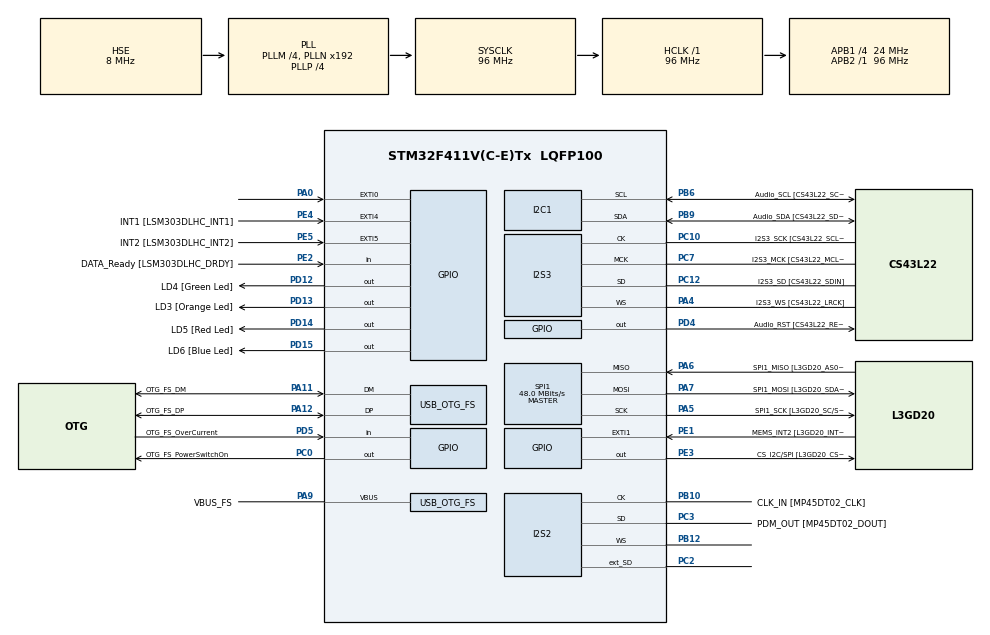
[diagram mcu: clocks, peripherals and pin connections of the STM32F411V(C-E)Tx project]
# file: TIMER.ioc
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I2S2.AudioFreq=I2S_AUDIOFREQ_96K
I2S2.ErrorAudioFreq=0.15 %
I2S2.FullDuplexMode=I2S_FULLDUPLEXMODE_ENABLE
I2S2.Instance=SPI$Index
I2S2.RealAudioFreq=96.153 KHz
I2S2.VirtualMode=I2S_MODE_MASTER
I2S3.AudioFreq=I2S_AUDIOFREQ_96K
I2S3.ErrorAudioFreq=-6.99 %
I2S3.FullDuplexMode=I2S_FULLDUPLEXMODE_DISABLE
I2S3.Instance=SPI$Index
I2S3.RealAudioFreq=89.285 KHz
I2S3.VirtualMode=I2S_MODE_MASTER
Mcu.Family=STM32F4
Mcu.Name=STM32F411V(C-E)Tx
Mcu.Package=LQFP100
NVIC.OTG_FS_IRQn=true\:0\:0\:false\:false\:true\:true\:true
NVIC.PriorityGroup=NVIC_PRIORITYGROUP_0
NVIC.TIM1_UP_TIM10_IRQn=true\:0\:0\:false\:false\:true\:true\:true
PA0-WKUP.GPIO_ModeDefaultEXTI=GPIO_MODE_EVT_RISING
PA0-WKUP.Signal=GPXTI0
PA10.GPIO_Label=OTG_FS_ID
PA10.Signal=USB_OTG_FS_ID
PA11.GPIO_Label=OTG_FS_DM
PA11.Mode=Host_Only
PA11.Signal=USB_OTG_FS_DM
PA12.GPIO_Label=OTG_FS_DP
PA12.Mode=Host_Only
PA12.Signal=USB_OTG_FS_DP
PA13.GPIO_Label=SWDIO
PA13.Mode=Serial_Wire
PA13.Signal=SYS_JTMS-SWDIO
PA14.GPIO_Label=SWCLK
PA14.Mode=Serial_Wire
PA14.Signal=SYS_JTCK-SWCLK
PA4.GPIO_Label=I2S3_WS [CS43L22_LRCK]
PA4.GPIO_Mode=GPIO_MODE_AF_PP
PA4.GPIO_PuPd=GPIO_NOPULL
PA4.GPIO_Speed=GPIO_SPEED_FREQ_LOW
PA4.Mode=Half_Duplex_Master
PA4.Signal=I2S3_WS
PA5.GPIO_Label=SPI1_SCK [L3GD20_SC/SPC]
PA5.Mode=Full_Duplex_Master
PA5.Signal=SPI1_SCK
PA6.GPIO_Label=SPI1_MISO [L3GD20_AS0/SDO]
PA6.Mode=Full_Duplex_Master
PA6.Signal=SPI1_MISO
PA7.GPIO_Label=SPI1_MOSI [L3GD20_SDA/SDI/SDO]
PA7.Mode=Full_Duplex_Master
PA7.Signal=SPI1_MOSI
PA9.GPIO_Label=VBUS_FS
PA9.Mode=Activate_VBUS
PA9.Signal=USB_OTG_FS_VBUS
PB10.GPIO_Label=CLK_IN [MP45DT02_CLK]
PB10.Mode=Full_Duplex_Master
PB10.Signal=I2S2_CK
PB12.Mode=Full_Duplex_Master
PB12.Signal=I2S2_WS
PB3.GPIO_Label=SWO
PB3.Signal=SYS_JTDO-SWO
PB6.GPIO_Label=Audio_SCL [CS43L22_SCL]
PB6.GPIO_Mode=GPIO_MODE_AF_OD
PB6.GPIO_PuPd=GPIO_NOPULL
PB6.GPIO_Speed=GPIO_SPEED_FREQ_LOW
PB6.Mode=I2C
PB6.Signal=I2C1_SCL
PB9.GPIO_Label=Audio_SDA [CS43L22_SDA]
PB9.GPIO_Mode=GPIO_MODE_AF_OD
PB9.GPIO_PuPd=GPIO_NOPULL
PB9.GPIO_Speed=GPIO_SPEED_FREQ_LOW
PB9.Mode=I2C
PB9.Signal=I2C1_SDA
PC0.GPIO_Label=OTG_FS_PowerSwitchOn
PC0.PinState=GPIO_PIN_SET
PC0.Signal=GPIO_Output
PC10.GPIO_Label=I2S3_SCK [CS43L22_SCLK]
PC10.GPIO_Mode=GPIO_MODE_AF_PP
PC10.GPIO_PuPd=GPIO_NOPULL
PC10.GPIO_Speed=GPIO_SPEED_FREQ_LOW
PC10.Mode=Half_Duplex_Master
PC10.Signal=I2S3_CK
PC12.GPIO_Label=I2S3_SD [CS43L22_SDIN]
PC12.GPIO_Mode=GPIO_MODE_AF_PP
PC12.GPIO_PuPd=GPIO_NOPULL
PC12.GPIO_Speed=GPIO_SPEED_FREQ_LOW
PC12.Mode=Half_Duplex_Master
PC12.Signal=I2S3_SD
PC14-OSC32_IN.GPIO_Label=PC14-OSC32_IN
PC14-OSC32_IN.Signal=RCC_OSC32_IN
PC15-OSC32_OUT.GPIO_Label=PC15-OSC32_OUT
PC15-OSC32_OUT.Signal=RCC_OSC32_OUT
PC2.Mode=Full_Duplex_Master
PC2.Signal=I2S2_ext_SD
PC3.GPIO_Label=PDM_OUT [MP45DT02_DOUT]
PC3.Mode=Full_Duplex_Master
PC3.Signal=I2S2_SD
PC7.GPIO_Label=I2S3_MCK [CS43L22_MCLK]
PC7.GPIO_Mode=GPIO_MODE_AF_PP
PC7.GPIO_PuPd=GPIO_NOPULL
PC7.GPIO_Speed=GPIO_SPEED_FREQ_LOW
PC7.Mode=Master_Clock_Activated
PC7.Signal=I2S3_MCK
PD12.GPIO_Label=LD4 [Green Led]
PD12.GPIO_PuPd=GPIO_NOPULL
PD12.GPIO_Speed=GPIO_SPEED_FREQ_LOW
PD12.Signal=GPIO_Output
PD13.GPIO_Label=LD3 [Orange Led]
PD13.GPIO_PuPd=GPIO_NOPULL
PD13.GPIO_Speed=GPIO_SPEED_FREQ_LOW
PD13.Signal=GPIO_Output
PD14.GPIO_Label=LD5 [Red Led]
PD14.GPIO_PuPd=GPIO_NOPULL
PD14.GPIO_Speed=GPIO_SPEED_FREQ_LOW
PD14.Signal=GPIO_Output
PD15.GPIO_Label=LD6 [Blue Led]
PD15.GPIO_PuPd=GPIO_NOPULL
PD15.GPIO_Speed=GPIO_SPEED_FREQ_LOW
PD15.Signal=GPIO_Output
PD4.GPIO_Label=Audio_RST [CS43L22_RESET]
PD4.Signal=GPIO_Output
PD5.GPIO_Label=OTG_FS_OverCurrent
PD5.Signal=GPIO_Input
PE1.GPIO_Label=MEMS_INT2 [L3GD20_INT2]
PE1.GPIO_ModeDefaultEXTI=GPIO_MODE_EVT_RISING
PE1.Signal=GPXTI1
PE2.GPIO_Label=DATA_Ready [LSM303DLHC_DRDY]
PE2.Signal=GPIO_Input
PE3.GPIO_Label=CS_I2C/SPI [L3GD20_CS_I2C/SPI]
PE3.Signal=GPIO_Output
PE4.GPIO_Label=INT1 [LSM303DLHC_INT1]
PE4.GPIO_ModeDefaultEXTI=GPIO_MODE_EVT_RISING
PE4.Signal=GPXTI4
PE5.GPIO_Label=INT2 [LSM303DLHC_INT2]
PE5.GPIO_ModeDefaultEXTI=GPIO_MODE_EVT_RISING
PE5.Signal=GPXTI5
PH0\ -\ OSC_IN.GPIO_Label=PH0-OSC_IN
PH0\ -\ OSC_IN.Mode=HSE-External-Oscillator
PH0\ -\ OSC_IN.Signal=RCC_OSC_IN
PH1\ -\ OSC_OUT.GPIO_Label=PH1-OSC_OUT
PH1\ -\ OSC_OUT.Mode=HSE-External-Oscillator
PH1\ -\ OSC_OUT.Signal=RCC_OSC_OUT
ProjectManager.HeapSize=0x200
ProjectManager.StackSize=0x400
ProjectManager.TargetToolchain=STM32CubeIDE
RCC.48MHZClocksFreq_Value=48000000
RCC.AHBFreq_Value=96000000
RCC.APB1CLKDivider=RCC_HCLK_DIV4
RCC.APB1Freq_Value=24000000
RCC.APB1TimFreq_Value=48000000
RCC.APB2Freq_Value=96000000
RCC.APB2TimFreq_Value=96000000
RCC.CortexFreq_Value=96000000
RCC.HCLKFreq_Value=96000000
RCC.HSE_VALUE=8000000
RCC.HSI_VALUE=16000000
RCC.PLLI2SM=5
RCC.PLLI2SN=200
RCC.PLLM=4
RCC.PLLP=RCC_PLLP_DIV4
RCC.PLLQ=8
RCC.SYSCLKFreq_VALUE=96000000
RCC.SYSCLKSource=RCC_SYSCLKSOURCE_PLLCLK
RCC.VCOOutputFreq_Value=384000000
SPI1.BaudRatePrescaler=SPI_BAUDRATEPRESCALER_2
SPI1.CalculateBaudRate=48.0 MBits/s
SPI1.Direction=SPI_DIRECTION_2LINES
SPI1.Mode=SPI_MODE_MASTER
SPI1.VirtualType=VM_MASTER
TIM1.Period=600
TIM1.Prescaler=24000
USB_HOST.BSP.number=1
USB_HOST.USBH_HandleTypeDef=hUsbHostFS
USB_HOST.VirtualModeFS=Cdc
USB_HOST0.BSP.STBoard=false
USB_HOST0.BSP.api=Unknown
USB_HOST0.BSP.i2caddr=0
USB_HOST0.BSP.i2creg=0
USB_HOST0.BSP.instance=PC0
USB_HOST0.BSP.ip=GPIO
USB_HOST0.BSP.mode=Output
USB_HOST0.BSP.name=Drive_VBUS_FS
USB_HOST0.BSP.solution=PC0
USB_OTG_FS.VirtualMode=Host_Only
USB_OTG_FS.phy_itface=HCD_PHY_EMBEDDED
VP_TIM1_VS_ClockSourceINT.Mode=Internal
VP_USB_HOST_VS_USB_HOST_CDC_FS.Mode=CDC_FS
board=STM32F411E-DISCO

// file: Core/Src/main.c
/* USER CODE BEGIN Header */
/**
  ******************************************************************************
  * @file           : main.c
  * @brief          : Main program body
  ******************************************************************************
  * @attention
  *
  * <h2><center>&copy; Copyright (c) 2020 STMicroelectronics.
  * All rights reserved.</center></h2>
  *
  * This software component is licensed by ST under Ultimate Liberty license
  * SLA0044, the "License"; You may not use this file except in compliance with
  * the License. You may obtain a copy of the License at:
  *                             www.st.com/SLA0044
  *
  ******************************************************************************
  */
/* USER CODE END Header */
#include "main.h"
#include "usb_host.h"

/* USER CODE BEGIN Includes */
void SystemClock_Config(void);
static void MX_GPIO_Init(void);
static void MX_CRC_Init(void);
static void MX_USART1_UART_Init(void);
static void MX_USART3_UART_Init(void);
/* USER CODE BEGIN PFP */
static void printmsg(char *format,...);
uint32_t crcCalculation(uint32_t crcArray[], uint8_t lenOfArray);
uint8_t word_to_bytes(uint8_t *dest, uint32_t *src);
uint32_t bytes_to_word(uint32_t *dest, uint8_t *src);
uint8_t execute_mem_write(uint8_t *pBuffer, uint32_t mem_address, uint32_t len);
uint8_t execute_flash_erase(uint8_t sector_number , uint8_t number_of_sector);
uint32_t calculateAuthenticationKEY(uint32_t key);
uint8_t bootloader_verify_crc (uint8_t *pData, uint32_t len, uint32_t crc_host);
uint8_t calculateNumOfSector(uint32_t);
void userApplication(void);
/* USER CODE END Includes */

I2C_HandleTypeDef hi2c1;

I2S_HandleTypeDef hi2s2;
I2S_HandleTypeDef hi2s3;

SPI_HandleTypeDef hspi1;

TIM_HandleTypeDef htim1;

void SystemClock_Config(void);
static void MX_GPIO_Init(void);
static void MX_I2C1_Init(void);
static void MX_I2S2_Init(void);
static void MX_I2S3_Init(void);
static void MX_SPI1_Init(void);
static void MX_TIM1_Init(void);
void MX_USB_HOST_Process(void);

/* USER CODE BEGIN PFP */
static void printmsg(char *format,...);
uint32_t crcCalculation(uint32_t crcArray[], uint8_t lenOfArray);
uint8_t word_to_bytes(uint8_t *dest, uint32_t *src);
uint32_t bytes_to_word(uint32_t *dest, uint8_t *src);
uint8_t execute_mem_write(uint8_t *pBuffer, uint32_t mem_address, uint32_t len);
uint8_t execute_flash_erase(uint8_t sector_number , uint8_t number_of_sector);
uint32_t calculateAuthenticationKEY(uint32_t key);
uint8_t bootloader_verify_crc (uint8_t *pData, uint32_t len, uint32_t crc_host);
uint8_t calculateNumOfSector(uint32_t);
void userApplication(void);
/* USER CODE END Includes */

/* Private typedef -----------------------------------------------------------*/
/* USER CODE BEGIN PTD */

/* USER CODE END PTD */

/* Private define ------------------------------------------------------------*/
/* USER CODE BEGIN PD */
/* USER CODE END PD */

/* Private macro -------------------------------------------------------------*/
/* USER CODE BEGIN PM */

/* USER CODE END PM */

/* Private variables ---------------------------------------------------------*/
I2C_HandleTypeDef hi2c1;

I2S_HandleTypeDef hi2s2;
I2S_HandleTypeDef hi2s3;

SPI_HandleTypeDef hspi1;

TIM_HandleTypeDef htim1;

/* USER CODE BEGIN PV */

/* USER CODE END PV */

/* Private function prototypes -----------------------------------------------*/
void SystemClock_Config(void);
static void MX_GPIO_Init(void);
static void MX_I2C1_Init(void);
static void MX_I2S2_Init(void);
static void MX_I2S3_Init(void);
static void MX_SPI1_Init(void);
static void MX_TIM1_Init(void);
void MX_USB_HOST_Process(void);

/* USER CODE BEGIN PFP */

/* USER CODE END PFP */

/* USER CODE BEGIN 0 */
volatile uint32_t pBuffer = (uint32_t)0x08040000;
#define BL_RX_LEN  10000
uint8_t dataArray[BL_RX_LEN];
uint32_t uartDataRx[3] = {0};
uint32_t uartDataTx[3] = {0};
uint32_t payloadLen = 0;
uint32_t key = 0xFFCCDDCC;
uint16_t count = 0;

/* USER CODE END 0 */

int main(void)
{

  /* MCU Configuration--------------------------------------------------------*/

  /* Reset of all peripherals, Initializes the Flash interface and the Systick. */
  HAL_Init();

  /* Configure the system clock */
  SystemClock_Config();

  /* Initialize all configured peripherals */
  MX_GPIO_Init();
  MX_I2C1_Init();
  MX_I2S2_Init();
  MX_I2S3_Init();
  MX_SPI1_Init();
  MX_USB_HOST_Init();
  MX_TIM1_Init();
  /* USER CODE BEGIN 2 */
  HAL_TIM_Base_Start_IT(&htim1);

  /* USER CODE END 2 */

  /* Infinite loop */
  while (1)
  {
    MX_USB_HOST_Process();

  }
}

void SystemClock_Config(void)
{
  RCC_OscInitTypeDef RCC_OscInitStruct = {0};
  RCC_ClkInitTypeDef RCC_ClkInitStruct = {0};
  RCC_PeriphCLKInitTypeDef PeriphClkInitStruct = {0};

  /** Configure the main internal regulator output voltage
  */
  __HAL_RCC_PWR_CLK_ENABLE();
  __HAL_PWR_VOLTAGESCALING_CONFIG(PWR_REGULATOR_VOLTAGE_SCALE1);
  /** Initializes the RCC Oscillators according to the specified parameters
  * in the RCC_OscInitTypeDef structure.
  */
  RCC_OscInitStruct.OscillatorType = RCC_OSCILLATORTYPE_HSE;
  RCC_OscInitStruct.HSEState = RCC_HSE_ON;
  RCC_OscInitStruct.PLL.PLLState = RCC_PLL_ON;
  RCC_OscInitStruct.PLL.PLLSource = RCC_PLLSOURCE_HSE;
  RCC_OscInitStruct.PLL.PLLM = 4;
  RCC_OscInitStruct.PLL.PLLN = 192;
  RCC_OscInitStruct.PLL.PLLP = RCC_PLLP_DIV4;
  RCC_OscInitStruct.PLL.PLLQ = 8;
  if (HAL_RCC_OscConfig(&RCC_OscInitStruct) != HAL_OK)
  {
    Error_Handler();
  }
  /** Initializes the CPU, AHB and APB buses clocks
  */
  RCC_ClkInitStruct.ClockType = RCC_CLOCKTYPE_HCLK|RCC_CLOCKTYPE_SYSCLK
                              |RCC_CLOCKTYPE_PCLK1|RCC_CLOCKTYPE_PCLK2;
  RCC_ClkInitStruct.SYSCLKSource = RCC_SYSCLKSOURCE_PLLCLK;
  RCC_ClkInitStruct.AHBCLKDivider = RCC_SYSCLK_DIV1;
  RCC_ClkInitStruct.APB1CLKDivider = RCC_HCLK_DIV4;
  RCC_ClkInitStruct.APB2CLKDivider = RCC_HCLK_DIV1;

  if (HAL_RCC_ClockConfig(&RCC_ClkInitStruct, FLASH_LATENCY_3) != HAL_OK)
  {
    Error_Handler();
  }
  PeriphClkInitStruct.PeriphClockSelection = RCC_PERIPHCLK_I2S;
  PeriphClkInitStruct.PLLI2S.PLLI2SN = 200;
  PeriphClkInitStruct.PLLI2S.PLLI2SM = 5;
  PeriphClkInitStruct.PLLI2S.PLLI2SR = 2;
  if (HAL_RCCEx_PeriphCLKConfig(&PeriphClkInitStruct) != HAL_OK)
  {
    Error_Handler();
  }
}

static void MX_I2C1_Init(void)
{

  hi2c1.Instance = I2C1;
  hi2c1.Init.ClockSpeed = 100000;
  hi2c1.Init.DutyCycle = I2C_DUTYCYCLE_2;
  hi2c1.Init.OwnAddress1 = 0;
  hi2c1.Init.AddressingMode = I2C_ADDRESSINGMODE_7BIT;
  hi2c1.Init.DualAddressMode = I2C_DUALADDRESS_DISABLE;
  hi2c1.Init.OwnAddress2 = 0;
  hi2c1.Init.GeneralCallMode = I2C_GENERALCALL_DISABLE;
  hi2c1.Init.NoStretchMode = I2C_NOSTRETCH_DISABLE;
  if (HAL_I2C_Init(&hi2c1) != HAL_OK)
  {
    Error_Handler();
  }

}

static void MX_I2S2_Init(void)
{

  hi2s2.Instance = SPI2;
  hi2s2.Init.Mode = I2S_MODE_MASTER_TX;
  hi2s2.Init.Standard = I2S_STANDARD_PHILIPS;
  hi2s2.Init.DataFormat = I2S_DATAFORMAT_16B;
  hi2s2.Init.MCLKOutput = I2S_MCLKOUTPUT_DISABLE;
  hi2s2.Init.AudioFreq = I2S_AUDIOFREQ_96K;
  hi2s2.Init.CPOL = I2S_CPOL_LOW;
  hi2s2.Init.ClockSource = I2S_CLOCK_PLL;
  hi2s2.Init.FullDuplexMode = I2S_FULLDUPLEXMODE_ENABLE;
  if (HAL_I2S_Init(&hi2s2) != HAL_OK)
  {
    Error_Handler();
  }

}

static void MX_I2S3_Init(void)
{

  hi2s3.Instance = SPI3;
  hi2s3.Init.Mode = I2S_MODE_MASTER_TX;
  hi2s3.Init.Standard = I2S_STANDARD_PHILIPS;
  hi2s3.Init.DataFormat = I2S_DATAFORMAT_16B;
  hi2s3.Init.MCLKOutput = I2S_MCLKOUTPUT_ENABLE;
  hi2s3.Init.AudioFreq = I2S_AUDIOFREQ_96K;
  hi2s3.Init.CPOL = I2S_CPOL_LOW;
  hi2s3.Init.ClockSource = I2S_CLOCK_PLL;
  hi2s3.Init.FullDuplexMode = I2S_FULLDUPLEXMODE_DISABLE;
  if (HAL_I2S_Init(&hi2s3) != HAL_OK)
  {
    Error_Handler();
  }

}

static void MX_SPI1_Init(void)
{

  /* SPI1 parameter configuration*/
  hspi1.Instance = SPI1;
  hspi1.Init.Mode = SPI_MODE_MASTER;
  hspi1.Init.Direction = SPI_DIRECTION_2LINES;
  hspi1.Init.DataSize = SPI_DATASIZE_8BIT;
  hspi1.Init.CLKPolarity = SPI_POLARITY_LOW;
  hspi1.Init.CLKPhase = SPI_PHASE_1EDGE;
  hspi1.Init.NSS = SPI_NSS_SOFT;
  hspi1.Init.BaudRatePrescaler = SPI_BAUDRATEPRESCALER_2;
  hspi1.Init.FirstBit = SPI_FIRSTBIT_MSB;
  hspi1.Init.TIMode = SPI_TIMODE_DISABLE;
  hspi1.Init.CRCCalculation = SPI_CRCCALCULATION_DISABLE;
  hspi1.Init.CRCPolynomial = 10;
  if (HAL_SPI_Init(&hspi1) != HAL_OK)
  {
    Error_Handler();
  }

}

static void MX_TIM1_Init(void)
{

  /* USER CODE BEGIN TIM1_Init 0 */
	__TIM1_CLK_ENABLE();
  /* USER CODE END TIM1_Init 0 */

  TIM_ClockConfigTypeDef sClockSourceConfig = {0};
  TIM_MasterConfigTypeDef sMasterConfig = {0};

  htim1.Instance = TIM1;
  htim1.Init.Prescaler = 24000;
  htim1.Init.CounterMode = TIM_COUNTERMODE_UP;
  htim1.Init.Period = 600;
  htim1.Init.ClockDivision = TIM_CLOCKDIVISION_DIV1;
  htim1.Init.RepetitionCounter = 0;
  htim1.Init.AutoReloadPreload = TIM_AUTORELOAD_PRELOAD_DISABLE;
  if (HAL_TIM_Base_Init(&htim1) != HAL_OK)
  {
    Error_Handler();
  }
  sClockSourceConfig.ClockSource = TIM_CLOCKSOURCE_INTERNAL;
  if (HAL_TIM_ConfigClockSource(&htim1, &sClockSourceConfig) != HAL_OK)
  {
    Error_Handler();
  }
  sMasterConfig.MasterOutputTrigger = TIM_TRGO_RESET;
  sMasterConfig.MasterSlaveMode = TIM_MASTERSLAVEMODE_DISABLE;
  if (HAL_TIMEx_MasterConfigSynchronization(&htim1, &sMasterConfig) != HAL_OK)
  {
    Error_Handler();
  }

}

static void MX_GPIO_Init(void)
{
  GPIO_InitTypeDef GPIO_InitStruct = {0};

  /* GPIO Ports Clock Enable */
  __HAL_RCC_GPIOE_CLK_ENABLE();
  __HAL_RCC_GPIOC_CLK_ENABLE();
  __HAL_RCC_GPIOH_CLK_ENABLE();
  __HAL_RCC_GPIOA_CLK_ENABLE();
  __HAL_RCC_GPIOB_CLK_ENABLE();
  __HAL_RCC_GPIOD_CLK_ENABLE();

  /*Configure GPIO pin Output Level */
  HAL_GPIO_WritePin(CS_I2C_SPI_GPIO_Port, CS_I2C_SPI_Pin, GPIO_PIN_RESET);

  /*Configure GPIO pin Output Level */
  HAL_GPIO_WritePin(OTG_FS_PowerSwitchOn_GPIO_Port, OTG_FS_PowerSwitchOn_Pin, GPIO_PIN_SET);

  /*Configure GPIO pin Output Level */
  HAL_GPIO_WritePin(GPIOD, LD4_Pin|LD3_Pin|LD5_Pin|LD6_Pin
                          |Audio_RST_Pin, GPIO_PIN_RESET);

  /*Configure GPIO pin : DATA_Ready_Pin */
  GPIO_InitStruct.Pin = DATA_Ready_Pin;
  GPIO_InitStruct.Mode = GPIO_MODE_INPUT;
  GPIO_InitStruct.Pull = GPIO_NOPULL;
  HAL_GPIO_Init(DATA_Ready_GPIO_Port, &GPIO_InitStruct);

  /*Configure GPIO pin : CS_I2C_SPI_Pin */
  GPIO_InitStruct.Pin = CS_I2C_SPI_Pin;
  GPIO_InitStruct.Mode = GPIO_MODE_OUTPUT_PP;
  GPIO_InitStruct.Pull = GPIO_NOPULL;
  GPIO_InitStruct.Speed = GPIO_SPEED_FREQ_LOW;
  HAL_GPIO_Init(CS_I2C_SPI_GPIO_Port, &GPIO_InitStruct);

  /*Configure GPIO pins : INT1_Pin INT2_Pin MEMS_INT2_Pin */
  GPIO_InitStruct.Pin = INT1_Pin|INT2_Pin|MEMS_INT2_Pin;
  GPIO_InitStruct.Mode = GPIO_MODE_EVT_RISING;
  GPIO_InitStruct.Pull = GPIO_NOPULL;
  HAL_GPIO_Init(GPIOE, &GPIO_InitStruct);

  /*Configure GPIO pin : OTG_FS_PowerSwitchOn_Pin */
  GPIO_InitStruct.Pin = OTG_FS_PowerSwitchOn_Pin;
  GPIO_InitStruct.Mode = GPIO_MODE_OUTPUT_PP;
  GPIO_InitStruct.Pull = GPIO_NOPULL;
  GPIO_InitStruct.Speed = GPIO_SPEED_FREQ_LOW;
  HAL_GPIO_Init(OTG_FS_PowerSwitchOn_GPIO_Port, &GPIO_InitStruct);

  /*Configure GPIO pin : PA0 */
  GPIO_InitStruct.Pin = GPIO_PIN_0;
  GPIO_InitStruct.Mode = GPIO_MODE_EVT_RISING;
  GPIO_InitStruct.Pull = GPIO_NOPULL;
  HAL_GPIO_Init(GPIOA, &GPIO_InitStruct);

  /*Configure GPIO pins : LD4_Pin LD3_Pin LD5_Pin LD6_Pin
                           Audio_RST_Pin */
  GPIO_InitStruct.Pin = LD4_Pin|LD3_Pin|LD5_Pin|LD6_Pin
                          |Audio_RST_Pin;
  GPIO_InitStruct.Mode = GPIO_MODE_OUTPUT_PP;
  GPIO_InitStruct.Pull = GPIO_NOPULL;
  GPIO_InitStruct.Speed = GPIO_SPEED_FREQ_LOW;
  HAL_GPIO_Init(GPIOD, &GPIO_InitStruct);

  /*Configure GPIO pin : OTG_FS_OverCurrent_Pin */
  GPIO_InitStruct.Pin = OTG_FS_OverCurrent_Pin;
  GPIO_InitStruct.Mode = GPIO_MODE_INPUT;
  GPIO_InitStruct.Pull = GPIO_NOPULL;
  HAL_GPIO_Init(OTG_FS_OverCurrent_GPIO_Port, &GPIO_InitStruct);

}

/* USER CODE BEGIN 4 */
void HAL_TIM_PeriodElapsedCallback(TIM_HandleTypeDef *htim)
{
	count++;
	 if(HAL_GPIO_ReadPin(GPIOA,GPIO_PIN_0) == GPIO_PIN_SET)
		 {

			 HAL_TIM_Base_Stop(&htim1);
			 bootloader_uart_read_data();

		 }
	if(count == 5)
		{

			HAL_TIM_Base_Stop(&htim1);
			 userApplication();

		}

}

void bootloader_uart_read_data()
{
//	printmsg("BootLoader Mode\r\n");
//			uint32_t downloaderKey = calculateAuthenticationKEY(key);
//			uartDataTx[0] = key;
//			printmsg("Waiting for Tester Connection\r\n");
//			uint32_t temp = 0;
//			//HAL_UART_Receive(&huart3, &temp, 4, HAL_MAX_DELAY);
//		//	printmsg("Sending Authentication Key to Tester\r\n");
//			HAL_Delay(500);
//		//	HAL_UART_Transmit(&huart3, &uartDataTx[0], 4, HAL_MAX_DELAY);
//		//	printmsg("Waiting for the Tester Key\r\n");
//		//	HAL_UART_Receive(&huart3, &uartDataRx[0], 4, HAL_MAX_DELAY);
//			if(uartDataRx[0] == downloaderKey)
//			{
//				printmsg("Tester is verified successfully\r\n");
//				uartDataTx[1] = 0xFFFFFFFF;
//				//HAL_Delay(1000);
//			//	HAL_UART_Transmit(&huart3, &uartDataTx[1], 4, HAL_MAX_DELAY);
//			//	printmsg("Verification msg sent\r\n");
//			//	HAL_UART_Receive(&huart3, &uartDataRx[1], 8, HAL_MAX_DELAY);
//				uint32_t payloadCRC = uartDataRx[1];
//				payloadLen = uartDataRx[2];
//		//		printmsg("CRC value and Payload Length received\r\n");
//			//	printmsg("Waiting for the payload\r\n");
//			//	HAL_UART_Receive(&huart3, dataArray, payloadLen, HAL_MAX_DELAY);
//				if(!(bootloader_verify_crc(&dataArray, payloadLen, payloadCRC)))
//				{
//					printmsg("CRC is matched\r\n");
//					printmsg("Data is being written\r\n");
//					uint8_t statusWrite = 0;
//					uint8_t statusErase = 0;
//					//uint8_t numOfSector = calculateNumOfSector(payloadLen); // to do
//					statusErase = execute_flash_erase(6, 1);
//					if(statusErase == HAL_OK)
//					{
//						printmsg("Erasing Data is Succeeded\r\n");
//						statusWrite = execute_mem_write(dataArray, pBuffer, payloadLen);
//						if(statusWrite == HAL_OK)
//						{
//							printmsg("data is written successfully\r\n");
//						//	HAL_GPIO_WritePin(GPIOG, GPIO_PIN_13, GPIO_PIN_SET);
//							printmsg("Booting into User Application\r\n");
//							//HAL_Delay(500);
//							userApplication();
//						}
//						else
//						{
//							printmsg("Data writing is failed\r\n");
//							HAL_GPIO_WritePin(GPIOG, GPIO_PIN_14, GPIO_PIN_SET);
//							printmsg("Data is Erased, Please Go to Bootloader Mode and Download the firmware\r\n");
//							//HAL_Delay(500);
//						}
//					}
//					else
//					{
//						printmsg("Erasing is failed\r\n");
//						//HAL_Delay(500);
//						printmsg("Booting into User Application\r\n");
//						HAL_Delay(500);
//						userApplication();
//					}
//				}
//				else
//				{
//					printmsg("CRC is mis-matched\r\n");
//					//HAL_Delay(500);
//					printmsg("Booting into User Application\r\n");
//					userApplication();
//				}
//
//			}
//			else
//			{
//				printmsg("Unknown Tester Found\r\n");
//				//HAL_Delay(500);
//				printmsg("Booting into User Application\r\n");
//				userApplication();
//
//			}
//

}
void userApplication()
{

		HAL_GPIO_WritePin(GPIOD, GPIO_PIN_12,SET);
		void(*app_reset_handler)(void);
		//
		//	printf("BL_DEBUG_MSG: Bootloader jump to user application");
			uint32_t msp_value = *(volatile uint32_t *)FLASH_SECTOR_2_BASE_ADDRESS;
			//printf("BL DEBUG_MSG: msp value:%d\n",msp_value);
			// this function comes from CMSIS
			__set_MSP(msp_value);

			//SCB->VTOR = FLASH_SECTOR1_BASE_ADDRESS

			uint32_t resethandler_address = *(uint32_t*)(FLASH_SECTOR_2_BASE_ADDRESS+4);
			app_reset_handler = (void*)resethandler_address;

			// jump to reset handler of application
			app_reset_handler();

}
uint32_t crcCalculation(uint32_t crcArray[], uint8_t lenOfArray)
{
	uint32_t crc = 0xFF;
	uint8_t bindex = 0;
	uint8_t lenOfData = 0;
	for(;lenOfData < lenOfArray; lenOfData++)
	{
		crc = crc ^ crcArray[lenOfData];
		for(;bindex < (sizeof(crcArray[lenOfData]) * 8); bindex++)
		{
			if(crc & 0x80000000)
			{
				crc = (crc << 1) ^ 0x04C11DB7;
			}
			else
			{
				crc = crc << 1;
			}
		}
		bindex = 0;
	}
	return crc;
}
uint8_t word_to_bytes(uint8_t *dest, uint32_t *src)
{
	memcpy(&dest, src, sizeof(dest));

}
uint32_t bytes_to_word(uint32_t *dest, uint8_t *src)
{
	memcpy(dest, &src, sizeof(dest));
}
uint8_t execute_mem_write(uint8_t *pBuffer, uint32_t mem_address, uint32_t len)
{
	uint8_t status = HAL_OK;

	//We have to unlock flash module to get control of registers
	HAL_FLASH_Unlock();

	for(uint32_t i = 0 ; i <len ; i++)
	{
		//Here we program the flash byte by byte
		status = HAL_FLASH_Program(FLASH_TYPEPROGRAM_BYTE,mem_address+i,pBuffer[i] );
	}
	HAL_FLASH_Lock();

	return status;
}

uint8_t execute_flash_erase(uint8_t sector_number , uint8_t number_of_sector)
{
	//we have totally 12 sectors in STM32F407VG mcu .. sector[0 to 11]
	//number_of_sector has to be in the range of 0 to 11
	// if sector_number = 0xff , that means mass erase !
	//Code needs to modified if your MCU supports more flash sectors
	FLASH_EraseInitTypeDef flashErase_handle;
	uint32_t sectorError;
	HAL_StatusTypeDef status;

	if( number_of_sector > 12 )
		return INVALID_SECTOR;

	if( (sector_number == 0xff ) || (sector_number <= 11) )
	{
		if(sector_number == (uint8_t) 0xff)
		{
			flashErase_handle.TypeErase = FLASH_TYPEERASE_MASSERASE;
		}else
		{
			/*Here we are just calculating how many sectors needs to erased */
			uint8_t remanining_sector = 12 - sector_number;
			if( number_of_sector > remanining_sector)
			{
				number_of_sector = remanining_sector;
			}
			flashErase_handle.TypeErase = FLASH_TYPEERASE_SECTORS;
			flashErase_handle.Sector = sector_number; // this is the initial sector
			flashErase_handle.NbSectors = number_of_sector;
		}
		flashErase_handle.Banks = FLASH_BANK_1;

		/*Get access to touch the flash registers */
		HAL_FLASH_Unlock();
		flashErase_handle.VoltageRange = FLASH_VOLTAGE_RANGE_3;  // our mcu will work on this voltage range
		status = (uint8_t) HAL_FLASHEx_Erase(&flashErase_handle, &sectorError);
		HAL_FLASH_Lock();

		return status;
	}

	return INVALID_SECTOR;
}
uint32_t calculateAuthenticationKEY(uint32_t key)
{
	uint32_t returnValue = key ^ 0xAABBCCDD;
	return returnValue;

}
uint8_t bootloader_verify_crc (uint8_t *pData, uint32_t len, uint32_t crc_host)
{
	uint32_t uwCRCValue = 0xFF;

	for (uint32_t i=0 ; i < len ; i++)
	{
		uint32_t i_data = pData[i];
		//uwCRCValue = HAL_CRC_Accumulate(&hcrc, &i_data, 1);
	}

	/* Reset CRC Calculation Unit */
//	__HAL_CRC_DR_RESET(&hcrc);

	if( uwCRCValue == crc_host)
	{
		return VERIFY_CRC_SUCCESS;
	}

	return VERIFY_CRC_FAIL;
}
void printmsg(char *format,...)
{
#ifdef BL_DEBUG_MSG_EN
	char str[80];
	/*Extract the the argument list using VA apis */
	va_list args;
	va_start(args, format);
	vsprintf(str, format,args);
	HAL_UART_Transmit(D_UART,(uint8_t *)str, strlen(str),HAL_MAX_DELAY);
	va_end(args);
#endif
}
/* USER CODE END 4 */

void Error_Handler(void)
{
}

/************************ (C) COPYRIGHT STMicroelectronics *****END OF FILE****/
